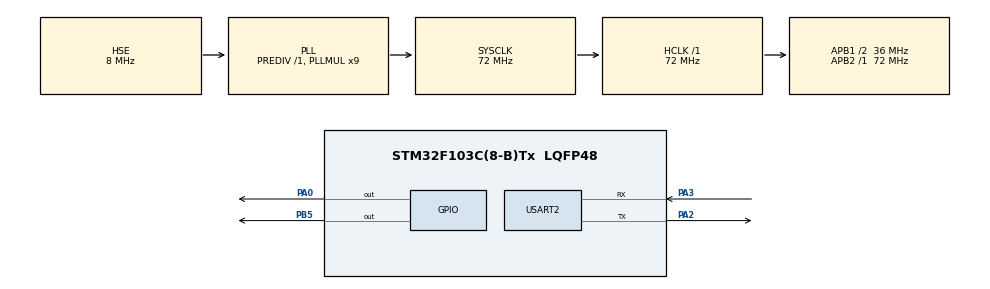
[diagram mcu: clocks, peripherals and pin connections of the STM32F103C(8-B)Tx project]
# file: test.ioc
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Mcu.Family=STM32F1
Mcu.Name=STM32F103C(8-B)Tx
Mcu.Package=LQFP48
NVIC.PriorityGroup=NVIC_PRIORITYGROUP_4
NVIC.TIM4_IRQn=true\:0\:0\:false\:false\:true\:true\:true\:true
NVIC.USART2_IRQn=true\:0\:0\:false\:false\:true\:true\:true\:true
PA0-WKUP.GPIO_Speed=GPIO_SPEED_FREQ_HIGH
PA0-WKUP.PinState=GPIO_PIN_SET
PA0-WKUP.Signal=GPIO_Output
PA13.Mode=Serial_Wire
PA13.Signal=SYS_JTMS-SWDIO
PA14.Mode=Serial_Wire
PA14.Signal=SYS_JTCK-SWCLK
PA2.Mode=Asynchronous
PA2.Signal=USART2_TX
PA3.Mode=Asynchronous
PA3.Signal=USART2_RX
PB5.PinState=GPIO_PIN_SET
PB5.Signal=GPIO_Output
PC14-OSC32_IN.Mode=LSE-External-Oscillator
PC14-OSC32_IN.Signal=RCC_OSC32_IN
PC15-OSC32_OUT.Mode=LSE-External-Oscillator
PC15-OSC32_OUT.Signal=RCC_OSC32_OUT
PD0-OSC_IN.Mode=HSE-External-Oscillator
PD0-OSC_IN.Signal=RCC_OSC_IN
PD1-OSC_OUT.Mode=HSE-External-Oscillator
PD1-OSC_OUT.Signal=RCC_OSC_OUT
ProjectManager.HeapSize=0x200
ProjectManager.StackSize=0x400
ProjectManager.TargetToolchain=MDK-ARM V5.32
RCC.AHBFreq_Value=72000000
RCC.APB1CLKDivider=RCC_HCLK_DIV2
RCC.APB1Freq_Value=36000000
RCC.APB1TimFreq_Value=72000000
RCC.APB2Freq_Value=72000000
RCC.APB2TimFreq_Value=72000000
RCC.HCLKFreq_Value=72000000
RCC.PLLMUL=RCC_PLL_MUL9
RCC.PLLSourceVirtual=RCC_PLLSOURCE_HSE
RCC.SYSCLKFreq_VALUE=72000000
RCC.SYSCLKSource=RCC_SYSCLKSOURCE_PLLCLK
RCC.USBFreq_Value=72000000
TIM4.Prescaler=71
USART2.VirtualMode=VM_ASYNC
VP_TIM4_VS_ClockSourceINT.Mode=Internal
board=custom

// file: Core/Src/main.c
/* USER CODE BEGIN Header */
/**
  ******************************************************************************
  * @file           : main.c
  * @brief          : Main program body (适配ARM Compiler 6 | USART2重定向+DHT11采集)
  ******************************************************************************
  * @attention
  *
  * Copyright (c) 2026 STMicroelectronics.
  * All rights reserved.
  *
  * This software is licensed under terms that can be found in the LICENSE file
  * in the root directory of this software component.
  * If no LICENSE file comes with this software, it is provided AS-IS.
  *
  ******************************************************************************
  */
/* USER CODE END Header */
#include "main.h"
#include "tim.h"
#include "usart.h"
#include "gpio.h"

/* USER CODE BEGIN Includes */
#include "stdio.h"   // 标准输入输出，printf依赖
#include "dht11.h"   // DHT11驱动头文件（HAL库版）
#include "delay.h"   // 微秒延时头文件（适配HAL库，DHT11时序核心）
#include "ds18b20.h"
/* USER CODE END Includes */

/* USER CODE BEGIN PD */
// ARM Compiler 6 关闭半主机模式（替代AC5的#pragma import，核心修复）
#define __NO_SYSTEM_INIT 1
/* USER CODE END PD */

/* USER CODE BEGIN PV */
DHT11_DataDef dht11_data;  // DHT11温湿度数据存储结构体
uint8_t dht11_read_sta;    // DHT11读取状态：0=成功，1=失败（无响应/校验错）
uint32_t print_cnt = 0;    // 打印计数变量，辅助测试
/* USER CODE END PV */

void SystemClock_Config(void);

/* USER CODE BEGIN 0 */
// ARM Compiler 6 适配：声明标准输出/输入（系统已定义__FILE，无需重写）
extern FILE __stdout;
extern FILE __stdin;

// 半主机模式必要空实现（避免链接错误，适配AC6）
void _ttywrch(int ch) { (void)ch; }
void _sys_exit(int x) { (void)x; while(1); }
int _sys_open(const char *name, int mode) { (void)name; (void)mode; return -1; }
int _sys_close(int fd) { (void)fd; return 0; }
int _sys_read(int fd, char *ptr, int len) { (void)fd; (void)ptr; (void)len; return 0; }
int _sys_write(int fd, char *ptr, int len) { (void)fd; (void)ptr; (void)len; return 0; }

// 重写fputc：printf底层实现，USART2串口输出（逻辑不变，适配AC6）
int fputc(int ch, FILE *f)
{
    HAL_UART_Transmit(&huart2, (uint8_t*)&ch, 1, HAL_MAX_DELAY);
    return ch;
}

// 重写fgetc：scanf底层实现，USART2串口输入（可选保留，适配AC6）
int fgetc(FILE *f)
{
    uint8_t ch = 0;
    HAL_UART_Receive(&huart2, &ch, 1, HAL_MAX_DELAY);
    // 取消注释开启回显：串口助手显示输入的字符
    // HAL_UART_Transmit(&huart2, &ch, 1, HAL_MAX_DELAY);
    return (int)ch;
}
/* USER CODE END 0 */

int main(void)
{

  /* MCU Configuration--------------------------------------------------------*/

  /* Reset of all peripherals, Initializes the Flash interface and the Systick. */
  HAL_Init();

  /* Configure the system clock */
  SystemClock_Config();

  /* Initialize all configured peripherals */
  MX_GPIO_Init();
  MX_USART2_UART_Init();
  MX_TIM4_Init();
  /* USER CODE BEGIN 2 */
  // 1. 初始化DHT11（HAL库版，已适配当前工程）
	printf("初始化完成，即将进入主循环...\r\n");
  DHT11_GPIO_Init();
  // 2. DHT11上电稳定延时（协议要求至少1秒，不可省略）
	printf("主循环执行中...\r\n");
  HAL_Delay(1000);
		// 初始化DS18B20
	if (DS18B20_Init() == 0)
	{
			printf("DS18B20初始化成功 ✅\r\n");
	}
	else
	{
			printf("DS18B20初始化失败 ❌\r\n");
	}
  // 3. 串口打印初始化成功提示（串口助手直接可见）
  printf("========================= 系统初始化完成 =========================\r\n");
  printf("STM32 USART2 串口重定向成功 | 波特率：%d 8N1\r\n", huart2.Init.BaudRate);
  printf("系统时钟：72MHz (HSE+PLL9倍频)\r\n");
  printf("编译器：ARM Compiler 6 (ARMCLANG) | DHT11采集开始...\r\n");
  printf("===============================================================\r\n\r\n");
  /* USER CODE END 2 */

  /* Infinite loop */
  while (1)
  {

				/* USER CODE BEGIN 3 */
		float temp = DS18B20_Read_Temperature();
		if (temp != -999.0f)
		{
				printf("当前温度：%.2f ℃\r\n", temp);
		}
		else
		{
				printf("温度读取失败 ❌\r\n");
		}

    // 关键：DHT11最小采样周期为2秒，不可频繁读取（必须≥2000ms）
    HAL_Delay(2000);
  }
  /* USER CODE END 3 */
}

void SystemClock_Config(void)
{
  RCC_OscInitTypeDef RCC_OscInitStruct = {0};
  RCC_ClkInitTypeDef RCC_ClkInitStruct = {0};

  /** Initializes the RCC Oscillators according to the specified parameters
  * in the RCC_OscInitTypeDef structure.
  */
  RCC_OscInitStruct.OscillatorType = RCC_OSCILLATORTYPE_HSE;
  RCC_OscInitStruct.HSEState = RCC_HSE_ON;
  RCC_OscInitStruct.HSEPredivValue = RCC_HSE_PREDIV_DIV1;
  RCC_OscInitStruct.HSIState = RCC_HSI_ON;
  RCC_OscInitStruct.PLL.PLLState = RCC_PLL_ON;
  RCC_OscInitStruct.PLL.PLLSource = RCC_PLLSOURCE_HSE;
  RCC_OscInitStruct.PLL.PLLMUL = RCC_PLL_MUL9;
  if (HAL_RCC_OscConfig(&RCC_OscInitStruct) != HAL_OK)
  {
    Error_Handler();
  }

  /** Initializes the CPU, AHB and APB buses clocks
  */
  RCC_ClkInitStruct.ClockType = RCC_CLOCKTYPE_HCLK|RCC_CLOCKTYPE_SYSCLK
                              |RCC_CLOCKTYPE_PCLK1|RCC_CLOCKTYPE_PCLK2;
  RCC_ClkInitStruct.SYSCLKSource = RCC_SYSCLKSOURCE_PLLCLK;
  RCC_ClkInitStruct.AHBCLKDivider = RCC_SYSCLK_DIV1;
  RCC_ClkInitStruct.APB1CLKDivider = RCC_HCLK_DIV2;
  RCC_ClkInitStruct.APB2CLKDivider = RCC_HCLK_DIV1;

  if (HAL_RCC_ClockConfig(&RCC_ClkInitStruct, FLASH_LATENCY_2) != HAL_OK)
  {
    Error_Handler();
  }
}

void Error_Handler(void)
{
  /* USER CODE BEGIN Error_Handler_Debug */
  /* User can add his own implementation to report the HAL error return state */
  __disable_irq();
  while (1)
  {
    // 错误时可添加指示灯闪烁（如LED每500ms闪一次），方便硬件排查
  }
  /* USER CODE END Error_Handler_Debug */
}
#ifdef USE_FULL_ASSERT
/**
  * @brief  Reports the name of the source file and the source line number
  *         where the assert_param error has occurred.
  * @param  file: pointer to the source file name
  * @param  line: assert_param error line source number
  * @retval None
  */
void assert_failed(uint8_t *file, uint32_t line)
{
  /* USER CODE BEGIN 6 */
  // 断言失败时，串口打印错误文件和行号，方便调试
  printf("【程序断言失败】File: %s, Line: %d\r\n", file, line);
  /* USER CODE END 6 */
}
#endif /* USE_FULL_ASSERT */
